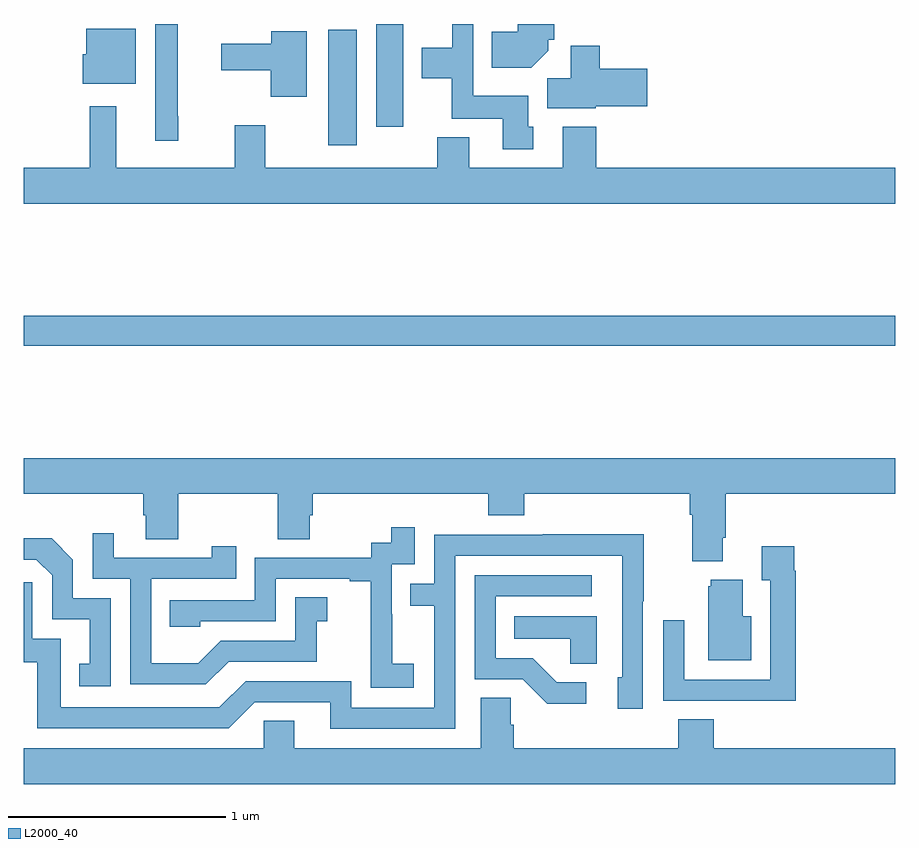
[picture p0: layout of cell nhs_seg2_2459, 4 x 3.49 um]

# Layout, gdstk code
import gdstk
lib = gdstk.Library(unit=1e-6, precision=1e-09)
def R(c, l, rs):  # rectangles x0, y0, x1, y1
    for r in rs: c.add(gdstk.rectangle(r[:2], r[2:], *l))
def P(c, l, *ps):  # polygons
    for p in ps: c.add(gdstk.Polygon(p, *l))
L2000_40 = (2000, 40)

nhs_seg2_2459 = lib.new_cell('nhs_seg2_2459')
R(nhs_seg2_2459, L2000_40, [(239,640.324,243,640.46), (240.398,641.244,240.529,641.773), (240.617,641.328,240.742,641.8)])
P(nhs_seg2_2459, L2000_40, [(241.339,641.328),(241.315,641.328),(241.315,641.47),(241.062,641.47),(241.062,641.8),(240.966,641.8),(240.966,641.692),(240.827,641.692),(240.827,641.552),(240.964,641.552),(240.964,641.366),(241.199,641.366),(241.199,641.226),(241.339,641.226)],
  [(241.408,641.678),(241.408,641.727),(241.434,641.727),(241.434,641.8),(241.268,641.8),(241.268,641.764),(241.147,641.764),(241.147,641.6),(241.33,641.6)],
  [(239.71,641.377),(239.707,641.377),(239.707,641.8),(239.603,641.8),(239.603,641.265),(239.71,641.265)],
  [(239.515,641.779),(239.288,641.779),(239.288,641.661),(239.27,641.661),(239.27,641.525),(239.515,641.525)],
  [(240.298,641.767),(240.136,641.767),(240.136,641.71),(239.907,641.71),(239.907,641.588),(240.134,641.588),(240.134,641.466),(240.298,641.466)],
  [(241.626,641.423),(241.861,641.423),(241.861,641.594),(241.643,641.594),(241.643,641.701),(241.511,641.701),(241.511,641.552),(241.403,641.552),(241.403,641.414),(241.626,641.414)],
  [(243,641.14),(241.628,641.14),(241.628,641.329),(241.475,641.329),(241.475,641.14),(241.045,641.14),(241.045,641.281),(240.898,641.281),(240.898,641.14),(240.109,641.14),(240.109,641.335),(239.969,641.335),(239.969,641.14),(239.425,641.14),(239.425,641.422),(239.304,641.422),(239.304,641.14),(239,641.14),(239,640.976),(243,640.976)],
  [(242.209,639.442),(242.222,639.442),(242.222,639.644),(243,639.644),(243,639.808),(239,639.808),(239,639.644),(239.549,639.644),(239.549,639.546),(239.561,639.546),(239.561,639.436),(239.709,639.436),(239.709,639.644),(240.166,639.644),(240.166,639.436),(240.313,639.436),(240.313,639.546),(240.326,639.546),(240.326,639.644),(241.133,639.644),(241.133,639.545),(241.298,639.545),(241.298,639.644),(242.057,639.644),(242.057,639.548),(242.069,639.548),(242.069,639.335),(242.209,639.335)],
  [(240.79,638.863),(240.692,638.863),(240.692,639.092),(240.69,639.092),(240.69,639.321),(240.795,639.321),(240.795,639.49),(240.687,639.49),(240.687,639.42),(240.594,639.42),(240.594,639.351),(240.06,639.351),(240.06,639.156),(239.671,639.156),(239.671,639.033),(239.811,639.033),(239.811,639.06),(240.156,639.06),(240.156,639.255),(240.497,639.255),(240.497,639.243),(240.593,639.243),(240.593,638.959),(240.592,638.959),(240.592,638.753),(240.79,638.753)],
  [(239.941,638.874),(240.345,638.874),(240.345,639.059),(240.394,639.059),(240.394,639.169),(240.246,639.169),(240.246,638.97),(239.904,638.97),(239.8,638.866),(239.586,638.866),(239.586,639.255),(239.975,639.255),(239.975,639.403),(239.864,639.403),(239.864,639.351),(239.413,639.351),(239.413,639.463),(239.316,639.463),(239.316,639.255),(239.49,639.255),(239.49,638.769),(239.836,638.769)],
  [(240.981,639.36),(241.746,639.36),(241.746,638.802),(241.727,638.802),(241.727,638.658),(241.842,638.658),(241.842,639.151),(241.845,639.151),(241.845,639.458),(241.381,639.458),(241.381,639.456),(240.885,639.456),(240.885,639.231),(240.775,639.231),(240.775,639.13),(240.885,639.13),(240.885,638.661),(240.504,638.661),(240.504,638.784),(240.018,638.784),(239.898,638.664),(239.169,638.664),(239.169,638.979),(239.04,638.979),(239.04,639.238),(239,639.238),(239,638.871),(239.061,638.871),(239.061,638.568),(239.94,638.568),(240.06,638.688),(240.407,638.688),(240.407,638.565),(240.981,638.565)],
  [(239.4,639.165),(239.226,639.165),(239.226,639.342),(239.128,639.44),(239,639.44),(239,639.342),(239.058,639.342),(239.13,639.27),(239.13,639.069),(239.303,639.069),(239.303,638.865),(239.254,638.865),(239.254,638.76),(239.4,638.76)],
  [(242.543,639.29),(242.536,639.29),(242.536,639.403),(242.387,639.403),(242.387,639.247),(242.427,639.247),(242.427,638.79),(242.031,638.79),(242.031,639.064),(241.935,639.064),(241.935,638.694),(242.251,638.694),(242.251,638.693),(242.543,638.693)],
  [(241.582,638.778),(241.447,638.778),(241.336,638.889),(241.167,638.889),(241.167,639.174),(241.606,639.174),(241.606,639.27),(241.071,639.27),(241.071,638.793),(241.29,638.793),(241.403,638.681),(241.582,638.681)],
  [(242.338,639.082),(242.299,639.082),(242.299,639.25),(242.153,639.25),(242.153,639.219),(242.141,639.219),(242.141,638.879),(242.338,638.879)],
  [(241.63,639.082),(241.252,639.082),(241.252,638.978),(241.509,638.978),(241.509,638.863),(241.63,638.863)],
  [(243,638.476),(242.168,638.476),(242.168,638.609),(242.003,638.609),(242.003,638.476),(241.25,638.476),(241.25,638.585),(241.236,638.585),(241.236,638.708),(241.097,638.708),(241.097,638.476),(240.241,638.476),(240.241,638.603),(240.102,638.603),(240.102,638.476),(239,638.476),(239,638.312),(243,638.312)])

lib.write_gds('nhs_seg2_2459.gds')
